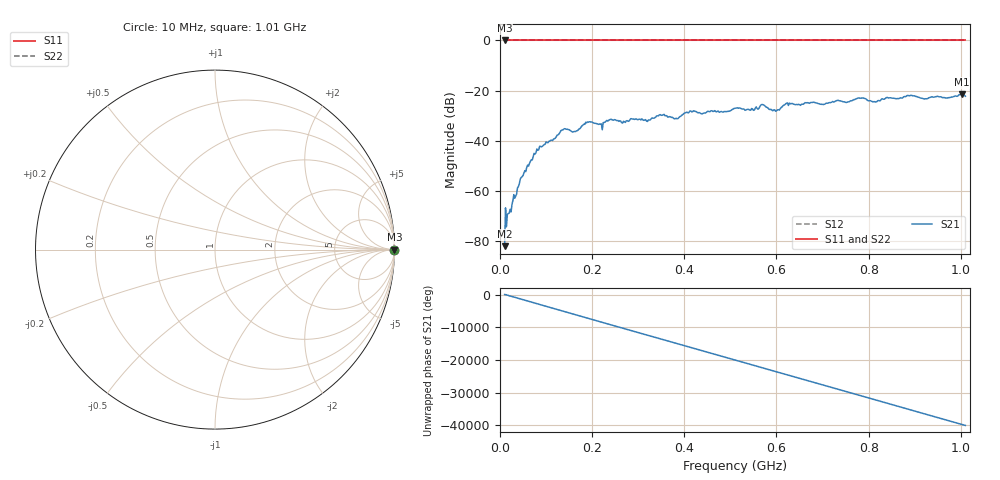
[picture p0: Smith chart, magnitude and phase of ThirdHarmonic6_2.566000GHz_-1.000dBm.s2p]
! 8/17/2025 5:20:33 AM
! C:\ANRITSUVNA\TEMP\TEMP.S2P
! CHANNEL.1
! TR.MEASUREMENT
! RAW.DATA
! RF.CORRECTION.OFF
! AVERAGING.OFF
! IF.BANDWIDTH: 5KHZ
! SWEEPTYPE:  FREQ.SWEEP(Linear)
! Reference Plane Port Info
! PORT:  PORT1  PORT2
! DISTANCE:  0  m  0  m
! TIME:  0  s  0  s
! PHASE.OFFSET:  0  deg.  0  deg.
! LOSS:  0  dB  0  dB
! REF.LOSS:  0  dB  0  dB
! REF.FREQ:  0  Hz  0  Hz
! Power Info
! POWER:  -20  dBm  -20  dBm
! EFF.POWER:  -20  dBm  -20  dBm
! SOURCE.ATTEN:  0  dB  0  dB
! TEST.ATTEN:  0  dB  0  dB
# GHZ S RI R 50.0
! FREQ.GHZ  S11RE  S11IM  S21RE  S21IM  S12RE  S12IM  S22RE  S22IM
!; PortSelection: Port_12
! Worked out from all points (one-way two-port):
!   501 points, 10 MHz to 1.01 GHz, reference 50 ohm
!   highest |S21| = -21.53 dB at 1.002 GHz (marker M1); lowest = -82.1 dB at 10 MHz (marker M2)
!   lowest |S11| = 0.0 dB at 10 MHz (marker M3)
!   |S11| at or under -10 dB: nowhere
!   |S22| runs from 0.0 to 0.0 dB; largest |S21 - S12| = 1.1
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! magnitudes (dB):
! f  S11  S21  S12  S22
! 10 MHz  0.0  -82.1  0.0  0.0
! 16 MHz  0.0  -69.3  0.0  0.0
! 42 MHz  0.0  -57.1  0.0  0.0
! 78 MHz  0.0  -44.8  0.0  0.0
! 136 MHz  0.0  -35.7  0.0  0.0
! 162 MHz  0.0  -36.3  0.0  0.0
! 178 MHz  0.0  -34.1  0.0  0.0
! 218 MHz  0.0  -33.4  0.0  0.0
! 240 MHz  0.0  -31.5  0.0  0.0
! 322 MHz  0.0  -31.7  0.0  0.0
! 344 MHz  0.0  -30.0  0.0  0.0
! 382 MHz  0.0  -31.0  0.0  0.0
! 416 MHz  0.0  -28.5  0.0  0.0
! 510 MHz  0.0  -27.1  0.0  0.0
! 548 MHz  0.0  -27.3  0.0  0.0
! 570 MHz  0.0  -25.6  0.0  0.0
! 602 MHz  0.0  -27.7  0.0  0.0
! 620 MHz  0.0  -25.3  0.0  0.0
! 678 MHz  0.0  -24.7  0.0  0.0
! 844 MHz  0.0  -22.9  0.0  0.0
! 1.002 GHz  0.0  -21.5  0.0  0.0
! 1.01 GHz  0.0  -22.2  0.0  0.0
